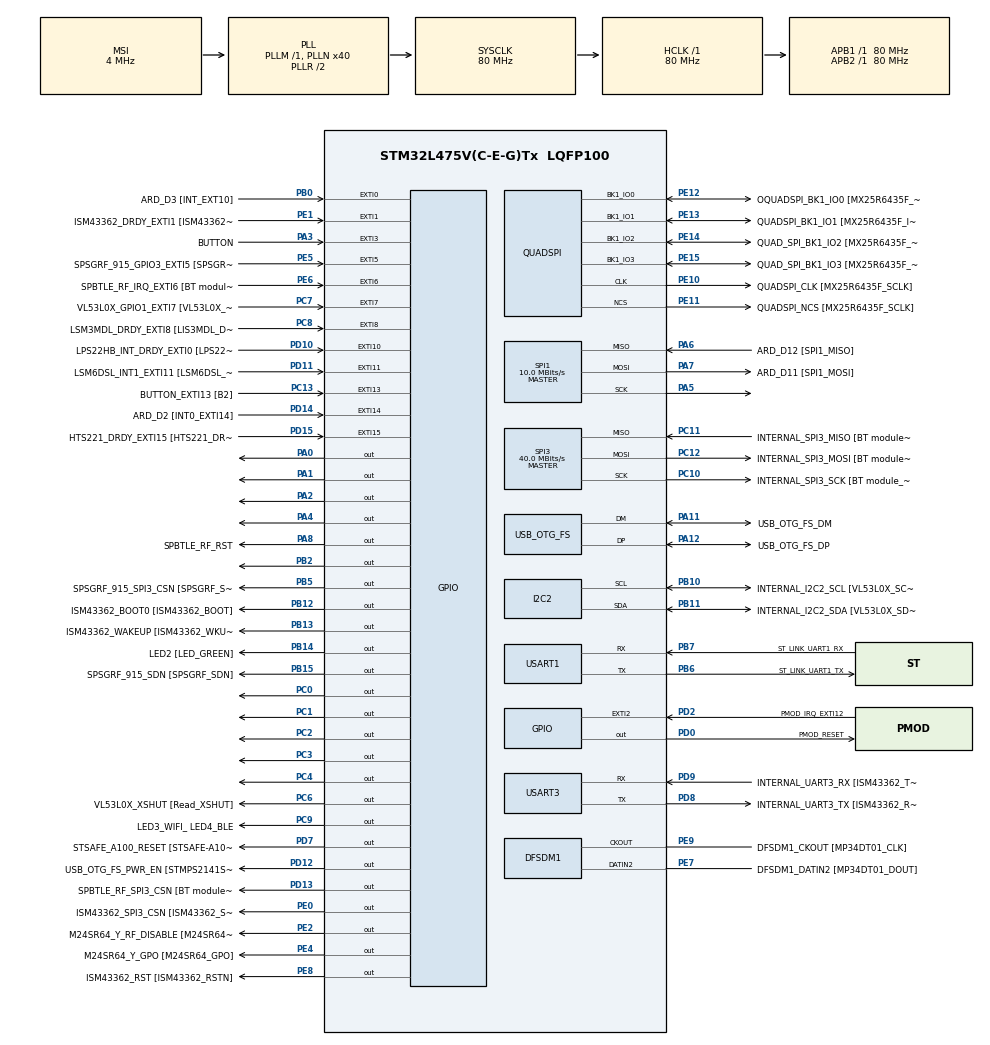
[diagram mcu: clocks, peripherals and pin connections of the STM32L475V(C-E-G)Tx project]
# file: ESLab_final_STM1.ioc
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FREERTOS.BinarySemaphores01=taskSem,Dynamic,NULL,Available;storeStart,Dynamic,NULL,Depleted;storeStop,Dynamic,NULL,Depleted;depositStart,Dynamic,NULL,Depleted
FREERTOS.Mutexes01=WIFIsocket,Dynamic,NULL,Available
FREERTOS.Tasks01=storingTask,24,128,StartStoringTask,Default,NULL,Dynamic,NULL,NULL;depositTask,24,128,StartDepositTask,Default,NULL,Dynamic,NULL,NULL;storingStopTask,32,128,storingStopTaskFunc,Default,NULL,Dynamic,NULL,NULL;receiveWIFI,16,128,receiveWIFITask,Default,NULL,Dynamic,NULL,NULL
Mcu.Family=STM32L4
Mcu.Name=STM32L475V(C-E-G)Tx
Mcu.Package=LQFP100
NVIC.EXTI15_10_IRQn=true\:5\:0\:false\:false\:true\:true\:true\:true\:true
NVIC.EXTI3_IRQn=true\:5\:0\:true\:false\:true\:true\:true\:true\:true
NVIC.EXTI9_5_IRQn=true\:5\:0\:false\:false\:true\:true\:true\:true\:true
NVIC.PriorityGroup=NVIC_PRIORITYGROUP_4
PA0.Signal=GPIO_Output
PA1.Signal=GPIO_Output
PA10.GPIO_Label=USB_OTG_FS_ID
PA10.Signal=USB_OTG_FS_ID
PA11.GPIO_Label=USB_OTG_FS_DM
PA11.Mode=Device_Only
PA11.Signal=USB_OTG_FS_DM
PA12.GPIO_Label=USB_OTG_FS_DP
PA12.Mode=Device_Only
PA12.Signal=USB_OTG_FS_DP
PA13\ (JTMS-SWDIO).GPIO_Label=SYS_JTMS_SWDIO
PA13\ (JTMS-SWDIO).Mode=Serial_Wire
PA13\ (JTMS-SWDIO).Signal=SYS_JTMS-SWDIO
PA14\ (JTCK-SWCLK).GPIO_Label=SYS_JTCK_SWCLK
PA14\ (JTCK-SWCLK).Mode=Serial_Wire
PA14\ (JTCK-SWCLK).Signal=SYS_JTCK-SWCLK
PA15\ (JTDI).Signal=S_TIM2_CH1
PA2.Signal=GPIO_Output
PA3.GPIO_Label=BUTTON
PA3.GPIO_ModeDefaultEXTI=GPIO_MODE_IT_RISING_FALLING
PA3.GPIO_PuPd=GPIO_PULLUP
PA3.Signal=GPXTI3
PA4.Signal=GPIO_Output
PA5.Mode=Full_Duplex_Master
PA5.Signal=SPI1_SCK
PA6.GPIO_Label=ARD_D12 [SPI1_MISO]
PA6.Mode=Full_Duplex_Master
PA6.Signal=SPI1_MISO
PA7.GPIO_Label=ARD_D11 [SPI1_MOSI]
PA7.Mode=Full_Duplex_Master
PA7.Signal=SPI1_MOSI
PA8.GPIO_Label=SPBTLE_RF_RST
PA8.Signal=GPIO_Output
PA9.GPIO_Label=USB_OTG_FS_VBUS [STMPS2141STR_OUT]
PA9.Signal=USB_OTG_FS_VBUS
PB0.GPIO_Label=ARD_D3 [INT_EXT10]
PB0.Signal=GPXTI0
PB1.Signal=S_TIM3_CH4
PB10.GPIO_Label=INTERNAL_I2C2_SCL [VL53L0X_SCL]
PB10.GPIO_Pu=GPIO_PULLUP
PB10.Mode=I2C
PB10.Signal=I2C2_SCL
PB11.GPIO_Label=INTERNAL_I2C2_SDA [VL53L0X_SDA]
PB11.GPIO_Pu=GPIO_PULLUP
PB11.Mode=I2C
PB11.Signal=I2C2_SDA
PB12.GPIO_Label=ISM43362_BOOT0 [ISM43362_BOOT]
PB12.Signal=GPIO_Output
PB13.GPIO_Label=ISM43362_WAKEUP [ISM43362_WKUP]
PB13.Signal=GPIO_Output
PB14.GPIO_Label=LED2 [LED_GREEN]
PB14.Signal=GPIO_Output
PB15.GPIO_Label=SPSGRF_915_SDN [SPSGRF_SDN]
PB15.Signal=GPIO_Output
PB2.Signal=GPIO_Output
PB3\ (JTDO-TRACESWO).GPIO_Label=SYS_JTD0_SWO
PB3\ (JTDO-TRACESWO).Signal=SYS_JTDO-SWO
PB4\ (NJTRST).Signal=S_TIM3_CH1
PB5.GPIO_Label=SPSGRF_915_SPI3_CSN [SPSGRF_SPI_CS]
PB5.PinState=GPIO_PIN_SET
PB5.Signal=GPIO_Output
PB6.GPIO_Label=ST_LINK_UART1_TX
PB6.Mode=Asynchronous
PB6.Signal=USART1_TX
PB7.GPIO_Label=ST_LINK_UART1_RX
PB7.Mode=Asynchronous
PB7.Signal=USART1_RX
PB8.GPIO_Label=ARD_D15 [I2C1_SCL]
PB8.Signal=I2C1_SCL
PB9.GPIO_Label=ARD_D14 [I2C1_SDA]
PB9.Signal=I2C1_SDA
PC0.Signal=GPIO_Output
PC1.Signal=GPIO_Output
PC10.GPIO_Label=INTERNAL_SPI3_SCK [BT module_SPI_SCLK] [ISM43362_SCK]
PC10.Mode=Full_Duplex_Master
PC10.Signal=SPI3_SCK
PC11.GPIO_Label=INTERNAL_SPI3_MISO [BT module_SPI_MISO] [ISM43362_MISO]
PC11.Mode=Full_Duplex_Master
PC11.Signal=SPI3_MISO
PC12.GPIO_Label=INTERNAL_SPI3_MOSI [BT module_SPI_MOSI] [ISM43362_MOSI]
PC12.Mode=Full_Duplex_Master
PC12.Signal=SPI3_MOSI
PC13.GPIO_Label=BUTTON_EXTI13 [B2]
PC13.GPIO_ModeDefaultEXTI=GPIO_MODE_IT_FALLING
PC13.Signal=GPXTI13
PC14-OSC32_IN\ (PC14).Mode=LSE-External-Oscillator
PC14-OSC32_IN\ (PC14).Signal=RCC_OSC32_IN
PC15-OSC32_OUT\ (PC15).Mode=LSE-External-Oscillator
PC15-OSC32_OUT\ (PC15).Signal=RCC_OSC32_OUT
PC2.Signal=GPIO_Output
PC3.Signal=GPIO_Output
PC4.Signal=GPIO_Output
PC5.GPIO_Label=ARD_A0 [ADC]
PC5.Signal=ADCx_IN14
PC6.GPIO_Label=VL53L0X_XSHUT [Read_XSHUT]
PC6.Signal=GPIO_Output
PC7.GPIO_Label=VL53L0X_GPIO1_EXTI7 [VL53L0X_GPIO1]
PC7.Signal=GPXTI7
PC8.GPIO_Label=LSM3MDL_DRDY_EXTI8 [LIS3MDL_DRDY]
PC8.Signal=GPXTI8
PC9.GPIO_Label=LED3_WIFI_ LED4_BLE
PC9.Signal=GPIO_Output
PD0.GPIO_Label=PMOD_RESET
PD0.Signal=GPIO_Output
PD1.Signal=SPI2_SCK
PD10.GPIO_Label=LPS22HB_INT_DRDY_EXTI0 [LPS22HB_INT_DRDY] 
PD10.Signal=GPXTI10
PD11.GPIO_Label=LSM6DSL_INT1_EXTI11 [LSM6DSL_INT1]
PD11.Signal=GPXTI11
PD12.GPIO_Label=USB_OTG_FS_PWR_EN [STMPS2141STR_EN]
PD12.Signal=GPIO_Output
PD13.GPIO_Label=SPBTLE_RF_SPI3_CSN [BT module_SPI_CS]
PD13.PinState=GPIO_PIN_SET
PD13.Signal=GPIO_Output
PD14.GPIO_Label=ARD_D2 [INT0_EXTI14]
PD14.Signal=GPXTI14
PD15.GPIO_Label=HTS221_DRDY_EXTI15 [HTS221_DRDY]
PD15.Signal=GPXTI15
PD2.GPIO_Label=PMOD_IRQ_EXTI12
PD2.Signal=GPXTI2
PD3.GPIO_Label=PMOD_UART2_CTS
PD3.Signal=USART2_CTS
PD4.GPIO_Label=PMOD_UART2_RTS
PD4.Signal=USART2_RTS
PD5.GPIO_Label=PMOD_UART2_TX
PD5.Signal=USART2_TX
PD6.GPIO_Label=PMOD_UART2_RX
PD6.Signal=USART2_RX
PD7.GPIO_Label=STSAFE_A100_RESET [STSAFE-A100_RESET]
PD7.Signal=GPIO_Output
PD8.GPIO_Label=INTERNAL_UART3_TX [ISM43362_RX]
PD8.Mode=Asynchronous
PD8.Signal=USART3_TX
PD9.GPIO_Label=INTERNAL_UART3_RX [ISM43362_TX]
PD9.Mode=Asynchronous
PD9.Signal=USART3_RX
PE0.GPIO_Label=ISM43362_SPI3_CSN [ISM43362_SSN]
PE0.PinState=GPIO_PIN_SET
PE0.Signal=GPIO_Output
PE1.GPIO_Label=ISM43362_DRDY_EXTI1 [ISM43362_DATARDY]
PE1.Signal=GPXTI1
PE10.GPIO_Label=QUADSPI_CLK [MX25R6435F_SCLK]
PE10.Mode=Single Bank
PE10.Signal=QUADSPI_CLK
PE11.GPIO_Label=QUADSPI_NCS [MX25R6435F_SCLK]
PE11.Mode=Single Bank
PE11.Signal=QUADSPI_NCS
PE12.GPIO_Label=OQUADSPI_BK1_IO0 [MX25R6435F_IO0]
PE12.Mode=Single Bank
PE12.Signal=QUADSPI_BK1_IO0
PE13.GPIO_Label=QUADSPI_BK1_IO1 [MX25R6435F_IO1]
PE13.Mode=Single Bank
PE13.Signal=QUADSPI_BK1_IO1
PE14.GPIO_Label=QUAD_SPI_BK1_IO2 [MX25R6435F_IO2]
PE14.Mode=Single Bank
PE14.Signal=QUADSPI_BK1_IO2
PE15.GPIO_Label=QUAD_SPI_BK1_IO3 [MX25R6435F_IO3]
PE15.Mode=Single Bank
PE15.Signal=QUADSPI_BK1_IO3
PE2.GPIO_Label=M24SR64_Y_RF_DISABLE [M24SR64_RFDIS]
PE2.Signal=GPIO_Output
PE4.GPIO_Label=M24SR64_Y_GPO [M24SR64_GPO]
PE4.Signal=GPIO_Output
PE5.GPIO_Label=SPSGRF_915_GPIO3_EXTI5 [SPSGRF_GPIO_3]
PE5.Signal=GPXTI5
PE6.GPIO_Label=SPBTLE_RF_IRQ_EXTI6 [BT module_SPI_IRQ]
PE6.Signal=GPXTI6
PE7.GPIO_Label=DFSDM1_DATIN2 [MP34DT01_DOUT]
PE7.Signal=S_DATAIN2DFSDM1
PE8.GPIO_Label=ISM43362_RST [ISM43362_RSTN]
PE8.Signal=GPIO_Output
PE9.GPIO_Label=DFSDM1_CKOUT [MP34DT01_CLK]
PE9.Signal=S_CKOUTDFSDM1
ProjectManager.HeapSize=0x200
ProjectManager.StackSize=0x400
ProjectManager.TargetToolchain=STM32CubeIDE
QUADSPI.ClockPrescaler=2
QUADSPI.FifoThreshold=4
QUADSPI.FlashSize=23
QUADSPI.SampleShifting=QSPI_SAMPLE_SHIFTING_HALFCYCLE
RCC.ADCFreq_Value=48000000
RCC.AHBFreq_Value=80000000
RCC.APB1Freq_Value=80000000
RCC.APB1TimFreq_Value=80000000
RCC.APB2Freq_Value=80000000
RCC.APB2TimFreq_Value=80000000
RCC.CortexFreq_Value=80000000
RCC.HCLKFreq_Value=80000000
RCC.HSE_VALUE=8000000
RCC.HSI_VALUE=16000000
RCC.MSI_VALUE=4000000
RCC.PLLN=40
RCC.PLLSAI1N=24
RCC.SYSCLKFreq_VALUE=80000000
RCC.SYSCLKSource=RCC_SYSCLKSOURCE_PLLCLK
RCC.USBFreq_Value=48000000
RCC.VCOOutputFreq_Value=160000000
SH.ADCx_IN14.0=ADC1_IN14
SH.S_CKOUTDFSDM1.0=DFSDM1_CKOUT,CKOUT
SH.S_CKOUTDFSDM1.1=DFSDM1_CKOUT,PDM_SPI_Input_from_ch12_and_Internal_Clock
SH.S_DATAIN2DFSDM1.0=DFSDM1_DATIN2,PDM_SPI_Input_from_ch12_and_Internal_Clock
SH.S_TIM2_CH1.0=TIM2_CH1
SH.S_TIM3_CH1.0=TIM3_CH1
SH.S_TIM3_CH4.0=TIM3_CH4
SPI1.BaudRatePrescaler=SPI_BAUDRATEPRESCALER_8
SPI1.CalculateBaudRate=10.0 MBits/s
SPI1.DataSize=SPI_DATASIZE_8BIT
SPI1.Direction=SPI_DIRECTION_2LINES
SPI1.Mode=SPI_MODE_MASTER
SPI1.VirtualType=VM_MASTER
SPI3.CalculateBaudRate=40.0 MBits/s
SPI3.Direction=SPI_DIRECTION_2LINES
SPI3.Mode=SPI_MODE_MASTER
SPI3.VirtualType=VM_MASTER
USART1.VirtualMode-Asynchronous=VM_ASYNC
USART3.VirtualMode-Asynchronous=VM_ASYNC
USB_OTG_FS.VirtualMode=Device_Only
VP_FREERTOS_VS_CMSIS_V2.Mode=CMSIS_V2
board=B-L475E-IOT01A2

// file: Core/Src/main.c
/* USER CODE BEGIN Header */
/**
  ******************************************************************************
  * @file           : main.c
  * @brief          : Main program body
  ******************************************************************************
  * @attention
  *
  * Copyright (c) 2025 STMicroelectronics.
  * All rights reserved.
  *
  * This software is licensed under terms that can be found in the LICENSE file
  * in the root directory of this software component.
  * If no LICENSE file comes with this software, it is provided AS-IS.
  *
  ******************************************************************************
  */
/* USER CODE END Header */
#include "main.h"
#include "cmsis_os.h"

/* USER CODE BEGIN PD */
#define TERMINAL_USE

/* Update SSID and PASSWORD with own Access point settings */
#define SSID     "ShuCheniPhone"
#define PASSWORD "11111111"

uint8_t RemoteIP[] = {172,20,10,2};//{192,168,50,58};//{192,168,50,57};//{172,27,187,63};//{192,168,3,110};
#define RemotePORT	8002

#define WIFI_WRITE_TIMEOUT 10000
#define WIFI_READ_TIMEOUT  10000

#define CONNECTION_TRIAL_MAX          10

#if defined (TERMINAL_USE)
#define TERMOUT(...)  printf(__VA_ARGS__)
#else
#define TERMOUT(...)
#endif
#define TIME_TO_A 10
#define TIME_TO_B 15
#define TIME_TO_C 15
#define TIME_TO_DROP 3
/* USER CODE END PD */

DFSDM_Channel_HandleTypeDef hdfsdm1_channel1;

I2C_HandleTypeDef hi2c2;

QSPI_HandleTypeDef hqspi;

SPI_HandleTypeDef hspi1;
SPI_HandleTypeDef hspi3;

UART_HandleTypeDef huart1;
UART_HandleTypeDef huart3;

PCD_HandleTypeDef hpcd_USB_OTG_FS;

/* Definitions for storingTask */
osThreadId_t storingTaskHandle;
const osThreadAttr_t storingTask_attributes = {
  .name = "storingTask",
  .stack_size = 128 * 4,
  .priority = (osPriority_t) osPriorityNormal,
};
/* Definitions for depositTask */
osThreadId_t depositTaskHandle;
const osThreadAttr_t depositTask_attributes = {
  .name = "depositTask",
  .stack_size = 128 * 4,
  .priority = (osPriority_t) osPriorityNormal,
};
/* Definitions for storingStopTask */
osThreadId_t storingStopTaskHandle;
const osThreadAttr_t storingStopTask_attributes = {
  .name = "storingStopTask",
  .stack_size = 128 * 4,
  .priority = (osPriority_t) osPriorityNormal,
};
/* Definitions for receiveWIFI */
osThreadId_t receiveWIFIHandle;
const osThreadAttr_t receiveWIFI_attributes = {
  .name = "receiveWIFI",
  .stack_size = 128 * 4,
  .priority = (osPriority_t) osPriorityNormal,
};
/* Definitions for WIFIsocket */
osMutexId_t WIFIsocketHandle;
const osMutexAttr_t WIFIsocket_attributes = {
  .name = "WIFIsocket"
};
/* Definitions for taskSem */
osSemaphoreId_t taskSemHandle;
const osSemaphoreAttr_t taskSem_attributes = {
  .name = "taskSem"
};
/* Definitions for storeStart */
osSemaphoreId_t storeStartHandle;
const osSemaphoreAttr_t storeStart_attributes = {
  .name = "storeStart"
};
/* Definitions for storeStop */
osSemaphoreId_t storeStopHandle;
const osSemaphoreAttr_t storeStop_attributes = {
  .name = "storeStop"
};
/* Definitions for depositStart */
osSemaphoreId_t depositStartHandle;
const osSemaphoreAttr_t depositStart_attributes = {
  .name = "depositStart"
};
/* USER CODE BEGIN PV */
extern  SPI_HandleTypeDef hspi; //this variable is declared in the es_wifi_io you need to called in main file.
static uint8_t RxData [500];
char TxData[32];
volatile int32_t Socket;
uint16_t Datalen;
int32_t ret;
uint8_t isStoring;
volatile uint8_t flag;
int expectedItemCount;
uint8_t status;
uint8_t str[MAX_LEN]; // Max_LEN = 16
uint8_t sNum[5];
char *msg1 = "Reading From Card\r\n";
char *msg2 = "Reading From Tag\r\n";
char *msg3 = "Place card to read\r\n";
/* USER CODE END PV */

void SystemClock_Config(void);
static void MX_GPIO_Init(void);
static void MX_DFSDM1_Init(void);
static void MX_I2C2_Init(void);
static void MX_QUADSPI_Init(void);
static void MX_SPI3_Init(void);
static void MX_USART1_UART_Init(void);
static void MX_USART3_UART_Init(void);
static void MX_USB_OTG_FS_PCD_Init(void);
static void MX_SPI1_Init(void);
void StartStoringTask(void *argument);
void StartDepositTask(void *argument);
void storingStopTaskFunc(void *argument);
void receiveWIFITask(void *argument);

/* USER CODE BEGIN PFP */
void StartStoringProcess(void);
void StopStoringProcess(void);
/* USER CODE END PFP */

/* USER CODE BEGIN 0 */
int __io_putchar(int ch)
{
	HAL_UART_Transmit(&huart1, (uint8_t *)&ch, 1, 0xFFFF);
	return ch;
}
/* USER CODE END 0 */

int main(void)
{

  /* USER CODE BEGIN 1 */
	uint8_t  MAC_Addr[6] = {0};
  uint8_t  IP_Addr[4] = {0};
  Socket = -1;
  int16_t Trials = CONNECTION_TRIAL_MAX;
  flag=0;
  /* USER CODE END 1 */

  /* MCU Configuration--------------------------------------------------------*/

  /* Reset of all peripherals, Initializes the Flash interface and the Systick. */
  HAL_Init();

  /* Configure the system clock */
  SystemClock_Config();

  /* Initialize all configured peripherals */
  MX_GPIO_Init();
  MX_DFSDM1_Init();
  MX_I2C2_Init();
  MX_QUADSPI_Init();
  MX_SPI3_Init();
  MX_USART1_UART_Init();
  MX_USART3_UART_Init();
  MX_USB_OTG_FS_PCD_Init();
  MX_SPI1_Init();
  /* USER CODE BEGIN 2 */
  // Init Wifi module
  if(WIFI_Init() ==  WIFI_STATUS_OK)
    {
      printf("> WIFI Module Initialized.\n");
      if(WIFI_GetMAC_Address(MAC_Addr, sizeof(MAC_Addr)) == WIFI_STATUS_OK)
      {
        printf("> es-wifi module MAC Address : %X:%X:%X:%X:%X:%X\n",
                 MAC_Addr[0],
                 MAC_Addr[1],
                 MAC_Addr[2],
                 MAC_Addr[3],
                 MAC_Addr[4],
                 MAC_Addr[5]);
      }
      else
      {
        printf("> ERROR : CANNOT get MAC address\n");
      }

      if( WIFI_Connect(SSID, PASSWORD, WIFI_ECN_WPA2_PSK) == WIFI_STATUS_OK)
      {
        printf("> es-wifi module connected \n");
        if(WIFI_GetIP_Address(IP_Addr, sizeof(IP_Addr)) == WIFI_STATUS_OK)
        {
          printf("> es-wifi module got IP Address : %d.%d.%d.%d\n",
                 IP_Addr[0],
                 IP_Addr[1],
                 IP_Addr[2],
                 IP_Addr[3]);

          printf("> Trying to connect to Server: %d.%d.%d.%d:%d ...\n",
                 RemoteIP[0],
                 RemoteIP[1],
                 RemoteIP[2],
                 RemoteIP[3],
  							 RemotePORT);

          while (Trials--)
          {
            if( WIFI_OpenClientConnection(0, WIFI_TCP_PROTOCOL, "TCP_CLIENT", RemoteIP, RemotePORT, 0) == WIFI_STATUS_OK)
            {
              printf("> TCP Connection opened successfully.\n");
              Socket = 0;
              strcpy(TxData, "hello\n");
              ret = WIFI_SendData(Socket, (const uint8_t *)TxData, strlen(TxData), &Datalen, WIFI_WRITE_TIMEOUT);
              break;
            }
          }
          if(Socket == -1)
          {
            printf("> ERROR : Cannot open Connection\n");
          }
        }
        else
        {
          printf("> ERROR : es-wifi module CANNOT get IP address\n");
        }
      }
      else
      {
        printf("> ERROR : es-wifi module NOT connected\n");
      }
    }
    else
    {
      printf("> ERROR : WIFI Module cannot be initialized.\n");
    }
  MFRC522_Init();
  printf("rc522 init\n");
    uchar ver = Read_MFRC522(0x37);  // VersionReg
    printf("MFRC522 VersionReg = 0x%02X\n", ver);
  /* USER CODE END 2 */

  /* Init scheduler */
  osKernelInitialize();
  /* Create the mutex(es) */
  /* creation of WIFIsocket */
  WIFIsocketHandle = osMutexNew(&WIFIsocket_attributes);

  /* Create the semaphores(s) */
  /* creation of taskSem */
  taskSemHandle = osSemaphoreNew(1, 1, &taskSem_attributes);

  /* creation of storeStart */
  storeStartHandle = osSemaphoreNew(1, 0, &storeStart_attributes);

  /* creation of storeStop */
  storeStopHandle = osSemaphoreNew(1, 0, &storeStop_attributes);

  /* creation of depositStart */
  depositStartHandle = osSemaphoreNew(1, 0, &depositStart_attributes);

  /* Create the thread(s) */
  /* creation of storingTask */
  storingTaskHandle = osThreadNew(StartStoringTask, NULL, &storingTask_attributes);

  /* creation of depositTask */
  depositTaskHandle = osThreadNew(StartDepositTask, NULL, &depositTask_attributes);

  /* creation of storingStopTask */
  storingStopTaskHandle = osThreadNew(storingStopTaskFunc, NULL, &storingStopTask_attributes);

  /* creation of receiveWIFI */
  receiveWIFIHandle = osThreadNew(receiveWIFITask, NULL, &receiveWIFI_attributes);

  /* Start scheduler */
  osKernelStart();

  /* We should never get here as control is now taken by the scheduler */

  /* Infinite loop */
  while (1)
  {

  }
}

void SystemClock_Config(void)
{
  RCC_OscInitTypeDef RCC_OscInitStruct = {0};
  RCC_ClkInitTypeDef RCC_ClkInitStruct = {0};

  /** Configure the main internal regulator output voltage
  */
  if (HAL_PWREx_ControlVoltageScaling(PWR_REGULATOR_VOLTAGE_SCALE1) != HAL_OK)
  {
    Error_Handler();
  }

  /** Configure LSE Drive Capability
  */
  HAL_PWR_EnableBkUpAccess();
  __HAL_RCC_LSEDRIVE_CONFIG(RCC_LSEDRIVE_LOW);

  /** Initializes the RCC Oscillators according to the specified parameters
  * in the RCC_OscInitTypeDef structure.
  */
  RCC_OscInitStruct.OscillatorType = RCC_OSCILLATORTYPE_LSE|RCC_OSCILLATORTYPE_MSI;
  RCC_OscInitStruct.LSEState = RCC_LSE_ON;
  RCC_OscInitStruct.MSIState = RCC_MSI_ON;
  RCC_OscInitStruct.MSICalibrationValue = 0;
  RCC_OscInitStruct.MSIClockRange = RCC_MSIRANGE_6;
  RCC_OscInitStruct.PLL.PLLState = RCC_PLL_ON;
  RCC_OscInitStruct.PLL.PLLSource = RCC_PLLSOURCE_MSI;
  RCC_OscInitStruct.PLL.PLLM = 1;
  RCC_OscInitStruct.PLL.PLLN = 40;
  RCC_OscInitStruct.PLL.PLLP = RCC_PLLP_DIV7;
  RCC_OscInitStruct.PLL.PLLQ = RCC_PLLQ_DIV2;
  RCC_OscInitStruct.PLL.PLLR = RCC_PLLR_DIV2;
  if (HAL_RCC_OscConfig(&RCC_OscInitStruct) != HAL_OK)
  {
    Error_Handler();
  }

  /** Initializes the CPU, AHB and APB buses clocks
  */
  RCC_ClkInitStruct.ClockType = RCC_CLOCKTYPE_HCLK|RCC_CLOCKTYPE_SYSCLK
                              |RCC_CLOCKTYPE_PCLK1|RCC_CLOCKTYPE_PCLK2;
  RCC_ClkInitStruct.SYSCLKSource = RCC_SYSCLKSOURCE_PLLCLK;
  RCC_ClkInitStruct.AHBCLKDivider = RCC_SYSCLK_DIV1;
  RCC_ClkInitStruct.APB1CLKDivider = RCC_HCLK_DIV1;
  RCC_ClkInitStruct.APB2CLKDivider = RCC_HCLK_DIV1;

  if (HAL_RCC_ClockConfig(&RCC_ClkInitStruct, FLASH_LATENCY_4) != HAL_OK)
  {
    Error_Handler();
  }

  /** Enable MSI Auto calibration
  */
  HAL_RCCEx_EnableMSIPLLMode();
}

static void MX_DFSDM1_Init(void)
{

  hdfsdm1_channel1.Instance = DFSDM1_Channel1;
  hdfsdm1_channel1.Init.OutputClock.Activation = ENABLE;
  hdfsdm1_channel1.Init.OutputClock.Selection = DFSDM_CHANNEL_OUTPUT_CLOCK_SYSTEM;
  hdfsdm1_channel1.Init.OutputClock.Divider = 2;
  hdfsdm1_channel1.Init.Input.Multiplexer = DFSDM_CHANNEL_EXTERNAL_INPUTS;
  hdfsdm1_channel1.Init.Input.DataPacking = DFSDM_CHANNEL_STANDARD_MODE;
  hdfsdm1_channel1.Init.Input.Pins = DFSDM_CHANNEL_FOLLOWING_CHANNEL_PINS;
  hdfsdm1_channel1.Init.SerialInterface.Type = DFSDM_CHANNEL_SPI_RISING;
  hdfsdm1_channel1.Init.SerialInterface.SpiClock = DFSDM_CHANNEL_SPI_CLOCK_INTERNAL;
  hdfsdm1_channel1.Init.Awd.FilterOrder = DFSDM_CHANNEL_FASTSINC_ORDER;
  hdfsdm1_channel1.Init.Awd.Oversampling = 1;
  hdfsdm1_channel1.Init.Offset = 0;
  hdfsdm1_channel1.Init.RightBitShift = 0x00;
  if (HAL_DFSDM_ChannelInit(&hdfsdm1_channel1) != HAL_OK)
  {
    Error_Handler();
  }

}

static void MX_I2C2_Init(void)
{

  hi2c2.Instance = I2C2;
  hi2c2.Init.Timing = 0x00000E14;
  hi2c2.Init.OwnAddress1 = 0;
  hi2c2.Init.AddressingMode = I2C_ADDRESSINGMODE_7BIT;
  hi2c2.Init.DualAddressMode = I2C_DUALADDRESS_DISABLE;
  hi2c2.Init.OwnAddress2 = 0;
  hi2c2.Init.OwnAddress2Masks = I2C_OA2_NOMASK;
  hi2c2.Init.GeneralCallMode = I2C_GENERALCALL_DISABLE;
  hi2c2.Init.NoStretchMode = I2C_NOSTRETCH_DISABLE;
  if (HAL_I2C_Init(&hi2c2) != HAL_OK)
  {
    Error_Handler();
  }

  /** Configure Analogue filter
  */
  if (HAL_I2CEx_ConfigAnalogFilter(&hi2c2, I2C_ANALOGFILTER_ENABLE) != HAL_OK)
  {
    Error_Handler();
  }

  /** Configure Digital filter
  */
  if (HAL_I2CEx_ConfigDigitalFilter(&hi2c2, 0) != HAL_OK)
  {
    Error_Handler();
  }

}

static void MX_QUADSPI_Init(void)
{

  /* QUADSPI parameter configuration*/
  hqspi.Instance = QUADSPI;
  hqspi.Init.ClockPrescaler = 2;
  hqspi.Init.FifoThreshold = 4;
  hqspi.Init.SampleShifting = QSPI_SAMPLE_SHIFTING_HALFCYCLE;
  hqspi.Init.FlashSize = 23;
  hqspi.Init.ChipSelectHighTime = QSPI_CS_HIGH_TIME_1_CYCLE;
  hqspi.Init.ClockMode = QSPI_CLOCK_MODE_0;
  if (HAL_QSPI_Init(&hqspi) != HAL_OK)
  {
    Error_Handler();
  }

}

static void MX_SPI1_Init(void)
{

  /* SPI1 parameter configuration*/
  hspi1.Instance = SPI1;
  hspi1.Init.Mode = SPI_MODE_MASTER;
  hspi1.Init.Direction = SPI_DIRECTION_2LINES;
  hspi1.Init.DataSize = SPI_DATASIZE_8BIT;
  hspi1.Init.CLKPolarity = SPI_POLARITY_LOW;
  hspi1.Init.CLKPhase = SPI_PHASE_1EDGE;
  hspi1.Init.NSS = SPI_NSS_SOFT;
  hspi1.Init.BaudRatePrescaler = SPI_BAUDRATEPRESCALER_8;
  hspi1.Init.FirstBit = SPI_FIRSTBIT_MSB;
  hspi1.Init.TIMode = SPI_TIMODE_DISABLE;
  hspi1.Init.CRCCalculation = SPI_CRCCALCULATION_DISABLE;
  hspi1.Init.CRCPolynomial = 7;
  hspi1.Init.CRCLength = SPI_CRC_LENGTH_DATASIZE;
  hspi1.Init.NSSPMode = SPI_NSS_PULSE_ENABLE;
  if (HAL_SPI_Init(&hspi1) != HAL_OK)
  {
    Error_Handler();
  }

}

static void MX_SPI3_Init(void)
{

  /* USER CODE BEGIN SPI3_Init 0 */
//
  /* USER CODE END SPI3_Init 0 */

  /* USER CODE BEGIN SPI3_Init 1 */
//
  /* USER CODE END SPI3_Init 1 */
  /* SPI3 parameter configuration*/
  hspi3.Instance = SPI3;
  hspi3.Init.Mode = SPI_MODE_MASTER;
  hspi3.Init.Direction = SPI_DIRECTION_2LINES;
  hspi3.Init.DataSize = SPI_DATASIZE_4BIT;
  hspi3.Init.CLKPolarity = SPI_POLARITY_LOW;
  hspi3.Init.CLKPhase = SPI_PHASE_1EDGE;
  hspi3.Init.NSS = SPI_NSS_SOFT;
  hspi3.Init.BaudRatePrescaler = SPI_BAUDRATEPRESCALER_2;
  hspi3.Init.FirstBit = SPI_FIRSTBIT_MSB;
  hspi3.Init.TIMode = SPI_TIMODE_DISABLE;
  hspi3.Init.CRCCalculation = SPI_CRCCALCULATION_DISABLE;
  hspi3.Init.CRCPolynomial = 7;
  hspi3.Init.CRCLength = SPI_CRC_LENGTH_DATASIZE;
  hspi3.Init.NSSPMode = SPI_NSS_PULSE_ENABLE;
  if (HAL_SPI_Init(&hspi3) != HAL_OK)
  {
    Error_Handler();
  }
  /* USER CODE BEGIN SPI3_Init 2 */
//
  /* USER CODE END SPI3_Init 2 */

}

static void MX_USART1_UART_Init(void)
{

  huart1.Instance = USART1;
  huart1.Init.BaudRate = 115200;
  huart1.Init.WordLength = UART_WORDLENGTH_8B;
  huart1.Init.StopBits = UART_STOPBITS_1;
  huart1.Init.Parity = UART_PARITY_NONE;
  huart1.Init.Mode = UART_MODE_TX_RX;
  huart1.Init.HwFlowCtl = UART_HWCONTROL_NONE;
  huart1.Init.OverSampling = UART_OVERSAMPLING_16;
  huart1.Init.OneBitSampling = UART_ONE_BIT_SAMPLE_DISABLE;
  huart1.AdvancedInit.AdvFeatureInit = UART_ADVFEATURE_NO_INIT;
  if (HAL_UART_Init(&huart1) != HAL_OK)
  {
    Error_Handler();
  }

}

static void MX_USART3_UART_Init(void)
{

  huart3.Instance = USART3;
  huart3.Init.BaudRate = 115200;
  huart3.Init.WordLength = UART_WORDLENGTH_8B;
  huart3.Init.StopBits = UART_STOPBITS_1;
  huart3.Init.Parity = UART_PARITY_NONE;
  huart3.Init.Mode = UART_MODE_TX_RX;
  huart3.Init.HwFlowCtl = UART_HWCONTROL_NONE;
  huart3.Init.OverSampling = UART_OVERSAMPLING_16;
  huart3.Init.OneBitSampling = UART_ONE_BIT_SAMPLE_DISABLE;
  huart3.AdvancedInit.AdvFeatureInit = UART_ADVFEATURE_NO_INIT;
  if (HAL_UART_Init(&huart3) != HAL_OK)
  {
    Error_Handler();
  }

}

static void MX_USB_OTG_FS_PCD_Init(void)
{

  hpcd_USB_OTG_FS.Instance = USB_OTG_FS;
  hpcd_USB_OTG_FS.Init.dev_endpoints = 6;
  hpcd_USB_OTG_FS.Init.speed = PCD_SPEED_FULL;
  hpcd_USB_OTG_FS.Init.phy_itface = PCD_PHY_EMBEDDED;
  hpcd_USB_OTG_FS.Init.Sof_enable = DISABLE;
  hpcd_USB_OTG_FS.Init.low_power_enable = DISABLE;
  hpcd_USB_OTG_FS.Init.lpm_enable = DISABLE;
  hpcd_USB_OTG_FS.Init.battery_charging_enable = DISABLE;
  hpcd_USB_OTG_FS.Init.use_dedicated_ep1 = DISABLE;
  hpcd_USB_OTG_FS.Init.vbus_sensing_enable = DISABLE;
  if (HAL_PCD_Init(&hpcd_USB_OTG_FS) != HAL_OK)
  {
    Error_Handler();
  }

}

static void MX_GPIO_Init(void)
{
  GPIO_InitTypeDef GPIO_InitStruct = {0};

  /* GPIO Ports Clock Enable */
  __HAL_RCC_GPIOE_CLK_ENABLE();
  __HAL_RCC_GPIOC_CLK_ENABLE();
  __HAL_RCC_GPIOA_CLK_ENABLE();
  __HAL_RCC_GPIOB_CLK_ENABLE();
  __HAL_RCC_GPIOD_CLK_ENABLE();

  /*Configure GPIO pin Output Level */
  HAL_GPIO_WritePin(GPIOE, M24SR64_Y_RF_DISABLE_Pin|M24SR64_Y_GPO_Pin|ISM43362_RST_Pin, GPIO_PIN_RESET);

  /*Configure GPIO pin Output Level */
  HAL_GPIO_WritePin(GPIOC, GPIO_PIN_0|GPIO_PIN_1|GPIO_PIN_2|GPIO_PIN_3
                          |GPIO_PIN_4|VL53L0X_XSHUT_Pin|LED3_WIFI__LED4_BLE_Pin, GPIO_PIN_RESET);

  /*Configure GPIO pin Output Level */
  HAL_GPIO_WritePin(GPIOA, GPIO_PIN_0|GPIO_PIN_1|GPIO_PIN_2|GPIO_PIN_4
                          |SPBTLE_RF_RST_Pin, GPIO_PIN_RESET);

  /*Configure GPIO pin Output Level */
  HAL_GPIO_WritePin(GPIOB, GPIO_PIN_2|ISM43362_BOOT0_Pin|ISM43362_WAKEUP_Pin|LED2_Pin
                          |SPSGRF_915_SDN_Pin, GPIO_PIN_RESET);

  /*Configure GPIO pin Output Level */
  HAL_GPIO_WritePin(GPIOD, USB_OTG_FS_PWR_EN_Pin|PMOD_RESET_Pin|STSAFE_A100_RESET_Pin, GPIO_PIN_RESET);

  /*Configure GPIO pin Output Level */
  HAL_GPIO_WritePin(SPBTLE_RF_SPI3_CSN_GPIO_Port, SPBTLE_RF_SPI3_CSN_Pin, GPIO_PIN_SET);

  /*Configure GPIO pin Output Level */
  HAL_GPIO_WritePin(SPSGRF_915_SPI3_CSN_GPIO_Port, SPSGRF_915_SPI3_CSN_Pin, GPIO_PIN_SET);

  /*Configure GPIO pin Output Level */
  HAL_GPIO_WritePin(ISM43362_SPI3_CSN_GPIO_Port, ISM43362_SPI3_CSN_Pin, GPIO_PIN_SET);

  /*Configure GPIO pins : M24SR64_Y_RF_DISABLE_Pin M24SR64_Y_GPO_Pin ISM43362_RST_Pin ISM43362_SPI3_CSN_Pin */
  GPIO_InitStruct.Pin = M24SR64_Y_RF_DISABLE_Pin|M24SR64_Y_GPO_Pin|ISM43362_RST_Pin|ISM43362_SPI3_CSN_Pin;
  GPIO_InitStruct.Mode = GPIO_MODE_OUTPUT_PP;
  GPIO_InitStruct.Pull = GPIO_NOPULL;
  GPIO_InitStruct.Speed = GPIO_SPEED_FREQ_LOW;
  HAL_GPIO_Init(GPIOE, &GPIO_InitStruct);

  /*Configure GPIO pins : SPSGRF_915_GPIO3_EXTI5_Pin SPBTLE_RF_IRQ_EXTI6_Pin ISM43362_DRDY_EXTI1_Pin */
  GPIO_InitStruct.Pin = SPSGRF_915_GPIO3_EXTI5_Pin|SPBTLE_RF_IRQ_EXTI6_Pin|ISM43362_DRDY_EXTI1_Pin;
  GPIO_InitStruct.Mode = GPIO_MODE_IT_RISING;
  GPIO_InitStruct.Pull = GPIO_NOPULL;
  HAL_GPIO_Init(GPIOE, &GPIO_InitStruct);

  /*Configure GPIO pin : BUTTON_EXTI13_Pin */
  GPIO_InitStruct.Pin = BUTTON_EXTI13_Pin;
  GPIO_InitStruct.Mode = GPIO_MODE_IT_FALLING;
  GPIO_InitStruct.Pull = GPIO_NOPULL;
  HAL_GPIO_Init(BUTTON_EXTI13_GPIO_Port, &GPIO_InitStruct);

  /*Configure GPIO pins : PC0 PC1 PC2 PC3
                           PC4 VL53L0X_XSHUT_Pin LED3_WIFI__LED4_BLE_Pin */
  GPIO_InitStruct.Pin = GPIO_PIN_0|GPIO_PIN_1|GPIO_PIN_2|GPIO_PIN_3
                          |GPIO_PIN_4|VL53L0X_XSHUT_Pin|LED3_WIFI__LED4_BLE_Pin;
  GPIO_InitStruct.Mode = GPIO_MODE_OUTPUT_PP;
  GPIO_InitStruct.Pull = GPIO_NOPULL;
  GPIO_InitStruct.Speed = GPIO_SPEED_FREQ_LOW;
  HAL_GPIO_Init(GPIOC, &GPIO_InitStruct);

  /*Configure GPIO pins : PA0 PA1 PA2 PA4
                           SPBTLE_RF_RST_Pin */
  GPIO_InitStruct.Pin = GPIO_PIN_0|GPIO_PIN_1|GPIO_PIN_2|GPIO_PIN_4
                          |SPBTLE_RF_RST_Pin;
  GPIO_InitStruct.Mode = GPIO_MODE_OUTPUT_PP;
  GPIO_InitStruct.Pull = GPIO_NOPULL;
  GPIO_InitStruct.Speed = GPIO_SPEED_FREQ_LOW;
  HAL_GPIO_Init(GPIOA, &GPIO_InitStruct);

  /*Configure GPIO pin : BUTTON_Pin */
  GPIO_InitStruct.Pin = BUTTON_Pin;
  GPIO_InitStruct.Mode = GPIO_MODE_IT_RISING_FALLING;
  GPIO_InitStruct.Pull = GPIO_PULLUP;
  HAL_GPIO_Init(BUTTON_GPIO_Port, &GPIO_InitStruct);

  /*Configure GPIO pin : ARD_A0_Pin */
  GPIO_InitStruct.Pin = ARD_A0_Pin;
  GPIO_InitStruct.Mode = GPIO_MODE_ANALOG_ADC_CONTROL;
  GPIO_InitStruct.Pull = GPIO_NOPULL;
  HAL_GPIO_Init(ARD_A0_GPIO_Port, &GPIO_InitStruct);

  /*Configure GPIO pin : ARD_D3_Pin */
  GPIO_InitStruct.Pin = ARD_D3_Pin;
  GPIO_InitStruct.Mode = GPIO_MODE_IT_RISING;
  GPIO_InitStruct.Pull = GPIO_NOPULL;
  HAL_GPIO_Init(ARD_D3_GPIO_Port, &GPIO_InitStruct);

  /*Configure GPIO pins : PB1 PB4 */
  GPIO_InitStruct.Pin = GPIO_PIN_1|GPIO_PIN_4;
  GPIO_InitStruct.Mode = GPIO_MODE_AF_PP;
  GPIO_InitStruct.Pull = GPIO_NOPULL;
  GPIO_InitStruct.Speed = GPIO_SPEED_FREQ_LOW;
  GPIO_InitStruct.Alternate = GPIO_AF2_TIM3;
  HAL_GPIO_Init(GPIOB, &GPIO_InitStruct);

  /*Configure GPIO pins : PB2 ISM43362_BOOT0_Pin ISM43362_WAKEUP_Pin LED2_Pin
                           SPSGRF_915_SDN_Pin SPSGRF_915_SPI3_CSN_Pin */
  GPIO_InitStruct.Pin = GPIO_PIN_2|ISM43362_BOOT0_Pin|ISM43362_WAKEUP_Pin|LED2_Pin
                          |SPSGRF_915_SDN_Pin|SPSGRF_915_SPI3_CSN_Pin;
  GPIO_InitStruct.Mode = GPIO_MODE_OUTPUT_PP;
  GPIO_InitStruct.Pull = GPIO_NOPULL;
  GPIO_InitStruct.Speed = GPIO_SPEED_FREQ_LOW;
  HAL_GPIO_Init(GPIOB, &GPIO_InitStruct);

  /*Configure GPIO pins : LPS22HB_INT_DRDY_EXTI0_Pin LSM6DSL_INT1_EXTI11_Pin ARD_D2_Pin HTS221_DRDY_EXTI15_Pin
                           PMOD_IRQ_EXTI12_Pin */
  GPIO_InitStruct.Pin = LPS22HB_INT_DRDY_EXTI0_Pin|LSM6DSL_INT1_EXTI11_Pin|ARD_D2_Pin|HTS221_DRDY_EXTI15_Pin
                          |PMOD_IRQ_EXTI12_Pin;
  GPIO_InitStruct.Mode = GPIO_MODE_IT_RISING;
  GPIO_InitStruct.Pull = GPIO_NOPULL;
  HAL_GPIO_Init(GPIOD, &GPIO_InitStruct);

  /*Configure GPIO pins : USB_OTG_FS_PWR_EN_Pin SPBTLE_RF_SPI3_CSN_Pin PMOD_RESET_Pin STSAFE_A100_RESET_Pin */
  GPIO_InitStruct.Pin = USB_OTG_FS_PWR_EN_Pin|SPBTLE_RF_SPI3_CSN_Pin|PMOD_RESET_Pin|STSAFE_A100_RESET_Pin;
  GPIO_InitStruct.Mode = GPIO_MODE_OUTPUT_PP;
  GPIO_InitStruct.Pull = GPIO_NOPULL;
  GPIO_InitStruct.Speed = GPIO_SPEED_FREQ_LOW;
  HAL_GPIO_Init(GPIOD, &GPIO_InitStruct);

  /*Configure GPIO pins : VL53L0X_GPIO1_EXTI7_Pin LSM3MDL_DRDY_EXTI8_Pin */
  GPIO_InitStruct.Pin = VL53L0X_GPIO1_EXTI7_Pin|LSM3MDL_DRDY_EXTI8_Pin;
  GPIO_InitStruct.Mode = GPIO_MODE_IT_RISING;
  GPIO_InitStruct.Pull = GPIO_NOPULL;
  HAL_GPIO_Init(GPIOC, &GPIO_InitStruct);

  /*Configure GPIO pin : PA15 */
  GPIO_InitStruct.Pin = GPIO_PIN_15;
  GPIO_InitStruct.Mode = GPIO_MODE_AF_PP;
  GPIO_InitStruct.Pull = GPIO_NOPULL;
  GPIO_InitStruct.Speed = GPIO_SPEED_FREQ_LOW;
  GPIO_InitStruct.Alternate = GPIO_AF1_TIM2;
  HAL_GPIO_Init(GPIOA, &GPIO_InitStruct);

  /*Configure GPIO pin : PD1 */
  GPIO_InitStruct.Pin = GPIO_PIN_1;
  GPIO_InitStruct.Mode = GPIO_MODE_AF_PP;
  GPIO_InitStruct.Pull = GPIO_NOPULL;
  GPIO_InitStruct.Speed = GPIO_SPEED_FREQ_VERY_HIGH;
  GPIO_InitStruct.Alternate = GPIO_AF5_SPI2;
  HAL_GPIO_Init(GPIOD, &GPIO_InitStruct);

  /*Configure GPIO pins : PMOD_UART2_CTS_Pin PMOD_UART2_RTS_Pin PMOD_UART2_TX_Pin PMOD_UART2_RX_Pin */
  GPIO_InitStruct.Pin = PMOD_UART2_CTS_Pin|PMOD_UART2_RTS_Pin|PMOD_UART2_TX_Pin|PMOD_UART2_RX_Pin;
  GPIO_InitStruct.Mode = GPIO_MODE_AF_PP;
  GPIO_InitStruct.Pull = GPIO_NOPULL;
  GPIO_InitStruct.Speed = GPIO_SPEED_FREQ_VERY_HIGH;
  GPIO_InitStruct.Alternate = GPIO_AF7_USART2;
  HAL_GPIO_Init(GPIOD, &GPIO_InitStruct);

  /*Configure GPIO pins : ARD_D15_Pin ARD_D14_Pin */
  GPIO_InitStruct.Pin = ARD_D15_Pin|ARD_D14_Pin;
  GPIO_InitStruct.Mode = GPIO_MODE_AF_OD;
  GPIO_InitStruct.Pull = GPIO_NOPULL;
  GPIO_InitStruct.Speed = GPIO_SPEED_FREQ_VERY_HIGH;
  GPIO_InitStruct.Alternate = GPIO_AF4_I2C1;
  HAL_GPIO_Init(GPIOB, &GPIO_InitStruct);

  /* EXTI interrupt init*/
  HAL_NVIC_SetPriority(EXTI3_IRQn, 5, 0);
  HAL_NVIC_EnableIRQ(EXTI3_IRQn);

  HAL_NVIC_SetPriority(EXTI9_5_IRQn, 5, 0);
  HAL_NVIC_EnableIRQ(EXTI9_5_IRQn);

  HAL_NVIC_SetPriority(EXTI15_10_IRQn, 5, 0);
  HAL_NVIC_EnableIRQ(EXTI15_10_IRQn);

}

/* USER CODE BEGIN 4 */
void HAL_GPIO_EXTI_Callback(uint16_t GPIO_Pin)
{
	printf("PIN:%d",GPIO_Pin);
  switch (GPIO_Pin)
  {
	case (GPIO_PIN_1):
	{
		SPI_WIFI_ISR();
		break;
	}
	case(BUTTON_Pin):
	{
		if (HAL_GPIO_ReadPin(GPIOA, BUTTON_Pin) == GPIO_PIN_RESET)  // Falling edge (pressed)
		{
			osSemaphoreRelease(storeStartHandle);
		}
		else  // Rising edge (released)
		{
			printf("stopping\n");
			osSemaphoreRelease(storeStopHandle);
			printf("released\n");
			//StopStoringProcess();
		}
		break;
	}
    default:
    {
      break;
    }
  }
}
void SPI3_IRQHandler(void)
{
  HAL_SPI_IRQHandler(&hspi);
}
void StartStoringProcess(void){
	status = MFRC522_Request(PICC_REQIDL, str);
	printf("status:%d\n",status);
	if (status == MI_OK)
	{
		printf("Card detected\n");

		status = MFRC522_Anticoll(str);
		if (status == MI_OK)
		{
			memcpy(sNum, str, 5);
//		        lastScanTime=HAL_GetTick();
			printf("Card UID: %02X %02X %02X %02X %02X\n",
				   sNum[0], sNum[1], sNum[2], sNum[3], sNum[4]);
			sprintf(TxData, "%02X %02X %02X %02X %02X\n",
					sNum[0], sNum[1], sNum[2], sNum[3], sNum[4]);

			if (osMutexAcquire(WIFIsocketHandle, 1000) == osOK) // 最多等 1 秒
			{
				ret = WIFI_SendData(Socket, (const uint8_t *)TxData, strlen(TxData), &Datalen, WIFI_WRITE_TIMEOUT);
				osMutexRelease(WIFIsocketHandle);

				if (ret != WIFI_STATUS_OK)
				{
					printf("> ERROR : Failed to Send Data, connection closed\n");
				}
			}
			else
			{
				printf("Socket busy, send skipped.\n");
			}

		}
	}
	osDelay(100);
}
void StartDepositProcess(){
	int count=0;
	while(count<expectedItemCount){
		status = MFRC522_Request(PICC_REQIDL, str);
		if (status == MI_OK)
		{
			printf("Card detected\n");

			status = MFRC522_Anticoll(str);
			if (status == MI_OK)
			{
				memcpy(sNum, str, 5);
//		        lastScanTime=HAL_GetTick();
				printf("Card UID: %02X %02X %02X %02X %02X\n",
					   sNum[0], sNum[1], sNum[2], sNum[3], sNum[4]);
				sprintf(TxData, "%02X %02X %02X %02X %02X\n",
						sNum[0], sNum[1], sNum[2], sNum[3], sNum[4]);
				if (osMutexAcquire(WIFIsocketHandle, 1000) == osOK) // 最多等 1 秒
				{
					ret = WIFI_SendData(Socket, (const uint8_t *)TxData, strlen(TxData), &Datalen, WIFI_WRITE_TIMEOUT);
					osMutexRelease(WIFIsocketHandle);

					if (ret != WIFI_STATUS_OK)
					{
						printf("> ERROR : Failed to Send Data, connection closed\n");
						break;
					}
				}
				else
				{
					printf("Socket busy, send skipped.\n");
				}
				count++;

			}
		}
		osDelay(100);
	}
}
/* USER CODE END 4 */

void StartStoringTask(void *argument)
{
  /* USER CODE BEGIN 5 */
  /* Infinite loop */
  for(;;)
  {
	  osSemaphoreAcquire(storeStartHandle, osWaitForever);
	  osSemaphoreAcquire(taskSemHandle,osWaitForever);
	  printf("start storing\n");
	  //scanning
	  flag=1;
	  osDelay(100);
	  if (osMutexAcquire(WIFIsocketHandle, osWaitForever) == osOK) // 最多等 1 秒
	{
		  strcpy(TxData, "storing start\n");
		ret = WIFI_SendData(Socket, (const uint8_t *)TxData, strlen(TxData), &Datalen, WIFI_WRITE_TIMEOUT);
		osMutexRelease(WIFIsocketHandle);

		if (ret != WIFI_STATUS_OK)
		{
			printf("> ERROR : Failed to Send Data, connection closed\n");
			break;
		}
	}
	else
	{
		printf("Socket busy, send skipped.\n");
	}
	  while(flag == 1)
	  {
		  StartStoringProcess();  // 做一次掃描
		  osDelay(100);               // 留時間給別人執行
	  }
	  printf("storing stopped\n");

	  // 釋放 taskSemHandle 讓其他任務能繼續
	  osSemaphoreRelease(taskSemHandle);
	  //sending data
	  //tracking time
  }
  /* USER CODE END 5 */
}

void StartDepositTask(void *argument)
{
  /* USER CODE BEGIN StartDepositTask */
  /* Infinite loop */
  for(;;)
  {
	  osSemaphoreAcquire(depositStartHandle, osWaitForever);
	  osSemaphoreAcquire(taskSemHandle,osWaitForever);
	  printf("start deposit\n");
	  StartDepositProcess();
	  osSemaphoreRelease(taskSemHandle);
  }
  /* USER CODE END StartDepositTask */
}

void storingStopTaskFunc(void *argument)
{
  /* USER CODE BEGIN storingStopTaskFunc */
  /* Infinite loop */
	printf("storingStopTaskFunc started\n");
  for(;;)
  {
	  osSemaphoreAcquire(storeStopHandle, osWaitForever);
	  printf("ending storing process\n");
	  osDelay(1000*TIME_TO_C);
	  printf("delay end\n");
	  flag=0;
	  osSemaphoreRelease(taskSemHandle);
  }
  /* USER CODE END storingStopTaskFunc */
}

void receiveWIFITask(void *argument)
{
  /* USER CODE BEGIN receiveWIFITask */
  /* Infinite loop */
  for(;;)
  {
	  printf("flag:%d\n",flag);
	  if(Socket != -1&&flag==0)
	  {
		if (osMutexAcquire(WIFIsocketHandle, 100) == osOK)  // 最多等 100ms
		{
		  ret = WIFI_ReceiveData(Socket, RxData, sizeof(RxData) - 1, &Datalen, WIFI_READ_TIMEOUT);
		  osMutexRelease(WIFIsocketHandle);

		  if (ret == WIFI_STATUS_OK)
		  {
			RxData[Datalen] = 0;
			printf("Received: %s\n", RxData);

			int itemCount = 0;
			if (sscanf((char *)RxData, "deposit: %d", &itemCount) == 1)
			{
				printf("release\n");
			  expectedItemCount = itemCount;
			  osSemaphoreRelease(depositStartHandle);
			}
		  }
		}
		else
		{
		  // mutex timeout，跳過一次
		  osDelay(10);
		}
	  }
	  osDelay(100);
  }
  /* USER CODE END receiveWIFITask */
}

void Error_Handler(void)
{
  __disable_irq();
  while (1)
  {
  }
}
